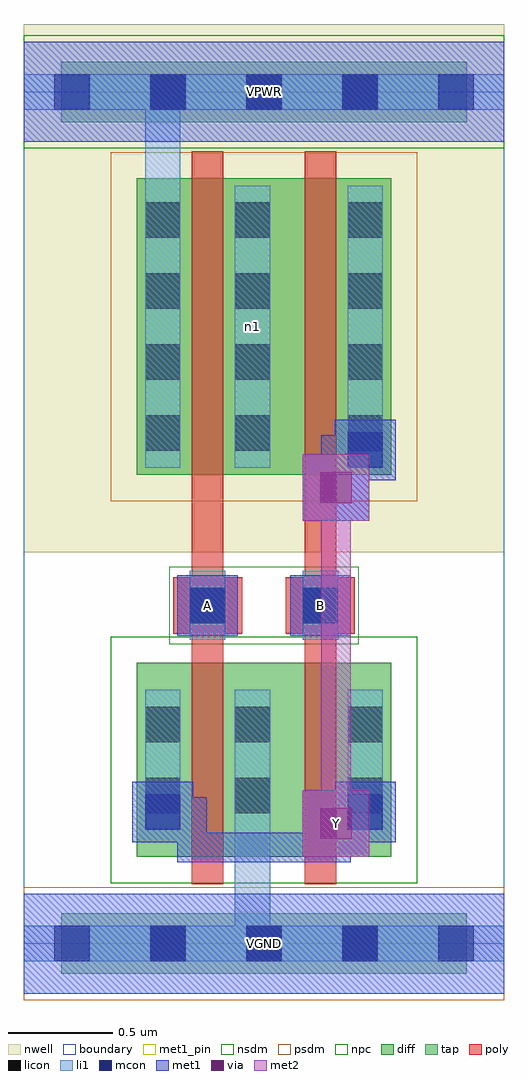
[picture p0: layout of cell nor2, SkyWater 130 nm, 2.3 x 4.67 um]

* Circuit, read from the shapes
.subckt nor2 A B VGND VPWR Y n1
XM1 VGND A Y VGND sky130_fd_pr__nfet_01v8 w=0.93 l=0.15
XM2 Y B VGND VGND sky130_fd_pr__nfet_01v8 w=0.93 l=0.15
XM3 n1 A VPWR VPWR sky130_fd_pr__pfet_01v8 w=1.42 l=0.15
XM4 Y B n1 VPWR sky130_fd_pr__pfet_01v8 w=1.42 l=0.15
.ends

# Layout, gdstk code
import gdstk
lib = gdstk.Library(unit=1e-6, precision=1e-09)
def R(c, l, rs):  # rectangles x0, y0, x1, y1
    for r in rs: c.add(gdstk.rectangle(r[:2], r[2:], *l))
def A(c, l, x, y, w, h, nx, ny, dx, dy):  # array of equal rectangles
    R(c, l, [(x+i*dx, y+j*dy, x+i*dx+w, y+j*dy+h) for i in range(nx) for j in range(ny)])
nwell = (64, 20)
diff = (65, 20)
tap = (65, 44)
poly = (66, 20)
licon = (66, 44)
li1 = (67, 20)
mcon = (67, 44)
met1_pin = (68, 16)
met1 = (68, 20)
via = (68, 44)
met2 = (69, 20)
nsdm = (93, 44)
psdm = (94, 20)
npc = (95, 20)
boundary = (235, 4)

nor2 = lib.new_cell('nor2')
R(nor2, nwell, [(0,1.875,2.3,4.405)])
R(nor2, diff, [(0.54,0.415,1.76,1.345), (0.54,2.245,1.76,3.665)])
R(nor2, tap, [(0.18,-0.145,2.12,0.145), (0.18,3.935,2.12,4.225)])
R(nor2, poly, [(0.805,0.285,0.955,3.795), (1.345,0.285,1.495,3.795), (0.715,1.485,1.045,1.755), (1.255,1.485,1.585,1.755)])
A(nor2, licon, 0.605, -0.085, 0.17, 0.17, 3, 2, 0.46, 4.08)
A(nor2, licon, 0.58, 2.36, 0.17, 0.17, 1, 4, 0, 0.34)
A(nor2, licon, 1.01, 2.36, 0.17, 0.17, 1, 4, 0, 0.34)
A(nor2, licon, 1.55, 2.36, 0.17, 0.17, 1, 4, 0, 0.34)
R(nor2, licon, [(0.58,0.625,0.75,0.795), (1.01,0.625,1.18,0.795), (1.55,0.625,1.72,0.795), (0.58,0.965,0.75,1.135), (1.01,0.965,1.18,1.135), (1.55,0.965,1.72,1.135), (0.795,1.535,0.965,1.705), (1.335,1.535,1.505,1.705)])
R(nor2, li1, [(0,-0.085,2.3,0.085), (1.01,-0.085,1.18,1.215), (0.58,0.545,0.75,1.215), (1.01,0.545,1.18,1.215), (1.55,0.545,1.72,1.215), (0.795,1.455,0.965,1.785), (1.335,1.455,1.505,1.785), (0.58,2.28,0.75,3.63), (0.58,2.28,0.75,4.165), (1.01,2.28,1.18,3.63), (1.55,2.28,1.72,3.63), (0,3.995,2.3,4.165)])
A(nor2, mcon, 0.145, -0.085, 0.17, 0.17, 5, 2, 0.46, 4.08)
R(nor2, mcon, [(0.58,0.545,0.75,0.715), (1.55,0.545,1.72,0.715), (0.795,1.535,0.965,1.705), (1.335,1.535,1.505,1.705), (1.55,2.28,1.72,2.45)])
R(nor2, met1_pin, [(0,-0.24,2.3,0.24), (1.335,0.415,1.655,0.735), (0.735,1.475,1.025,1.765), (1.275,1.475,1.565,1.765), (0,3.84,2.3,4.32)])
R(nor2, met1, [(0,-0.24,2.3,0.24), (0.735,0.39,0.875,0.7), (0.735,0.39,1.565,0.53), (1.425,0.39,1.565,0.7), (1.425,0.39,1.565,0.645), (1.335,0.415,1.655,0.735), (0.52,0.485,0.81,0.775), (1.49,0.485,1.78,0.775), (0.595,0.56,0.875,0.7), (1.425,0.56,1.705,0.7), (0.735,1.475,1.025,1.765), (1.275,1.475,1.565,1.765), (1.335,2.025,1.655,2.345), (1.425,2.115,1.565,2.435), (1.49,2.22,1.78,2.51), (1.425,2.295,1.705,2.435), (0,3.84,2.3,4.32)])
R(nor2, via, [(1.42,0.5,1.57,0.65), (1.42,2.11,1.57,2.26)])
R(nor2, met2, [(1.335,0.415,1.655,0.735), (1.425,0.505,1.565,2.255), (1.335,2.025,1.655,2.345)])
R(nor2, nsdm, [(0.415,0.29,1.885,1.47), (0,3.81,2.3,4.35)])
R(nor2, psdm, [(0,-0.27,2.3,0.27), (0.415,2.12,1.885,3.79)])
R(nor2, npc, [(0.695,1.435,1.605,1.805)])
R(nor2, boundary, [(0,0,2.3,4.08)])
nor2.add(gdstk.Label('n1', (1.095,2.955), layer=67, texttype=5))
nor2.add(gdstk.Label('A', (0.88,1.62), layer=68, texttype=5))
nor2.add(gdstk.Label('B', (1.42,1.62), layer=68, texttype=5))
nor2.add(gdstk.Label('Y', (1.495,0.575), layer=68, texttype=5))
nor2.add(gdstk.Label('VPWR', (1.15,4.08), layer=68, texttype=5))
nor2.add(gdstk.Label('VGND', (1.15,0), layer=68, texttype=5))
nor2.add(gdstk.Label('A', (0.88,1.62), layer=68, texttype=16))
nor2.add(gdstk.Label('B', (1.42,1.62), layer=68, texttype=16))
nor2.add(gdstk.Label('Y', (1.495,0.575), layer=68, texttype=16))
nor2.add(gdstk.Label('VPWR', (1.15,4.08), layer=68, texttype=16))
nor2.add(gdstk.Label('VGND', (1.15,0), layer=68, texttype=16))

lib.write_gds('nor2.gds')
